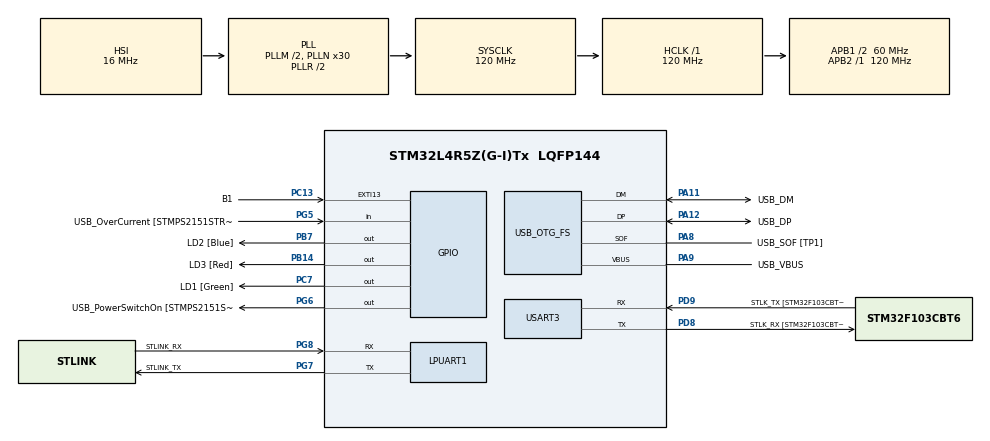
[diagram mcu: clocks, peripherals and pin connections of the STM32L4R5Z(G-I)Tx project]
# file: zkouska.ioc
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FREERTOS.BinarySemaphores01=ButtonSemaphore,Dynamic,NULL,Depleted;LD1Semaphore,Dynamic,NULL,Depleted;LD2Semaphore,Dynamic,NULL,Depleted
FREERTOS.Tasks01=LD1Blik,24,128,LD1BlikStart,Default,NULL,Dynamic,NULL,NULL;LD2Blik,24,128,LD2BlinkStart,Default,NULL,Dynamic,NULL,NULL;ZmenStav,24,128,ZmenStavStart,Default,NULL,Dynamic,NULL,NULL
FREERTOS.Timers01=LD3Timer,LD3TimerStart,osTimerPeriodic,Default,NULL,Dynamic,NULL
FREERTOS.configUSE_NEWLIB_REENTRANT=1
Mcu.Family=STM32L4
Mcu.Name=STM32L4R5Z(G-I)Tx
Mcu.Package=LQFP144
NVIC.EXTI15_10_IRQn=true\:5\:0\:false\:false\:true\:true\:true\:true\:true
NVIC.PriorityGroup=NVIC_PRIORITYGROUP_4
NVIC.TIM3_IRQn=true\:15\:0\:false\:false\:true\:false\:false\:true\:true
NVIC.TIM6_DAC_IRQn=true\:5\:0\:false\:false\:true\:true\:true\:true\:true
NVIC.TIM7_IRQn=true\:5\:0\:false\:false\:true\:true\:true\:true\:true
NVIC.TimeBase=TIM3_IRQn
NVIC.TimeBaseIP=TIM3
PA10.GPIO_Label=USB_ID
PA10.Signal=USB_OTG_FS_ID
PA11.GPIO_Label=USB_DM
PA11.Mode=Device_Only
PA11.Signal=USB_OTG_FS_DM
PA12.GPIO_Label=USB_DP
PA12.Mode=Device_Only
PA12.Signal=USB_OTG_FS_DP
PA13\ (JTMS/SWDIO).GPIO_Label=TMS
PA13\ (JTMS/SWDIO).Mode=Trace_Asynchronous_SW
PA13\ (JTMS/SWDIO).Signal=SYS_JTMS-SWDIO
PA14\ (JTCK/SWCLK).GPIO_Label=TCK
PA14\ (JTCK/SWCLK).Mode=Trace_Asynchronous_SW
PA14\ (JTCK/SWCLK).Signal=SYS_JTCK-SWCLK
PA8.GPIO_Label=USB_SOF [TP1]
PA8.Mode=Activate_SOF_FS
PA8.Signal=USB_OTG_FS_SOF
PA9.GPIO_Label=USB_VBUS
PA9.Mode=Activate_VBUS
PA9.Signal=USB_OTG_FS_VBUS
PB14.GPIO_Label=LD3 [Red]
PB14.Signal=GPIO_Output
PB3\ (JTDO/TRACESWO).GPIO_Label=SWO
PB3\ (JTDO/TRACESWO).Mode=Trace_Asynchronous_SW
PB3\ (JTDO/TRACESWO).Signal=SYS_JTDO-SWO
PB7.GPIO_Label=LD2 [Blue]
PB7.Signal=GPIO_Output
PC13.GPIO_Label=B1
PC13.Signal=GPXTI13
PC14-OSC32_IN\ (PC14).Mode=LSE-External-Oscillator
PC14-OSC32_IN\ (PC14).Signal=RCC_OSC32_IN
PC15-OSC32_OUT\ (PC15).Mode=LSE-External-Oscillator
PC15-OSC32_OUT\ (PC15).Signal=RCC_OSC32_OUT
PC7.GPIO_Label=LD1 [Green]
PC7.Signal=GPIO_Output
PD8.GPIO_Label=STLK_RX [STM32F103CBT6_PA3]
PD8.Mode=Asynchronous
PD8.Signal=USART3_TX
PD9.GPIO_Label=STLK_TX [STM32F103CBT6_PA2]
PD9.Mode=Asynchronous
PD9.Signal=USART3_RX
PG5.GPIO_Label=USB_OverCurrent [STMPS2151STR_FAULT]
PG5.Signal=GPIO_Input
PG6.GPIO_Label=USB_PowerSwitchOn [STMPS2151STR_EN]
PG6.Signal=GPIO_Output
PG7.GPIO_Label=STLINK_TX
PG7.Mode=Asynchronous
PG7.Signal=LPUART1_TX
PG8.GPIO_Label=STLINK_RX
PG8.Mode=Asynchronous
PG8.Signal=LPUART1_RX
PH0-OSC_IN\ (PH0).Signal=RCC_OSC_IN
PH1-OSC_OUT\ (PH1).Signal=RCC_OSC_OUT
ProjectManager.HeapSize=0x200
ProjectManager.StackSize=0x400
ProjectManager.TargetToolchain=STM32CubeIDE
RCC.48MHZClocksFreq_Value=24000000
RCC.ADCFreq_Value=96000000
RCC.AHBFreq_Value=120000000
RCC.APB1CLKDivider=RCC_HCLK_DIV2
RCC.APB1Freq_Value=60000000
RCC.APB1TimFreq_Value=120000000
RCC.APB2Freq_Value=120000000
RCC.APB2TimFreq_Value=120000000
RCC.CK48CLockSelection=RCC_USBCLKSOURCE_HSI48
RCC.CortexFreq_Value=120000000
RCC.HCLKFreq_Value=120000000
RCC.HSE_VALUE=8000000
RCC.HSI48_VALUE=48000000
RCC.HSI_VALUE=16000000
RCC.MSI_VALUE=4000000
RCC.PLLM1=2
RCC.PLLMUL=RCC_PLL_MUL9
RCC.PLLN=30
RCC.PLLSAI1N=12
RCC.PLLSourceVirtual=RCC_PLLSOURCE_HSI
RCC.PRESCALERUSB=RCC_USBCLKSOURCE_PLL_DIV1_5
RCC.SYSCLKFreq_VALUE=120000000
RCC.SYSCLKSource=RCC_SYSCLKSOURCE_PLLCLK
RCC.SYSCLKSourceVirtual=RCC_SYSCLKSOURCE_PLLCLK
RCC.USBFreq_Value=48000000
RCC.VCOOutputFreq_Value=240000000
TIM6.AutoReloadPreload=TIM_AUTORELOAD_PRELOAD_ENABLE
TIM6.Period=10000-1
TIM6.Prescaler=4800-1
TIM6.TIM_MasterOutputTrigger=TIM_TRGO_UPDATE
TIM7.AutoReloadPreload=TIM_AUTORELOAD_PRELOAD_ENABLE
TIM7.Period=10000-1
TIM7.Prescaler=7200-1
TIM7.TIM_MasterOutputTrigger=TIM_TRGO_UPDATE
USART3.VirtualMode-Asynchronous=VM_ASYNC
USB_OTG_FS.VirtualMode=Device_Only
VP_FREERTOS_VS_CMSIS_V2.Mode=CMSIS_V2
VP_SYS_VS_tim3.Mode=TIM3
VP_TIM6_VS_ClockSourceINT.Mode=Enable_Timer
VP_TIM7_VS_ClockSourceINT.Mode=Enable_Timer
board=NUCLEO-L4R5ZI

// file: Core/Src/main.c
/* USER CODE BEGIN Header */
/**
  ******************************************************************************
  * @file           : main.c
  * @brief          : Main program body
  ******************************************************************************
  * @attention
  *
  * Copyright (c) 2025 STMicroelectronics.
  * All rights reserved.
  *
  * This software is licensed under terms that can be found in the LICENSE file
  * in the root directory of this software component.
  * If no LICENSE file comes with this software, it is provided AS-IS.
  *
  ******************************************************************************
  */
/* USER CODE END Header */
#include "main.h"
#include "cmsis_os.h"

UART_HandleTypeDef hlpuart1;
UART_HandleTypeDef huart3;

TIM_HandleTypeDef htim6;
TIM_HandleTypeDef htim7;

PCD_HandleTypeDef hpcd_USB_OTG_FS;

/* Definitions for LD1Blik */
osThreadId_t LD1BlikHandle;
const osThreadAttr_t LD1Blik_attributes = {
  .name = "LD1Blik",
  .stack_size = 128 * 4,
  .priority = (osPriority_t) osPriorityNormal,
};
/* Definitions for LD2Blik */
osThreadId_t LD2BlikHandle;
const osThreadAttr_t LD2Blik_attributes = {
  .name = "LD2Blik",
  .stack_size = 128 * 4,
  .priority = (osPriority_t) osPriorityNormal,
};
/* Definitions for ZmenStav */
osThreadId_t ZmenStavHandle;
const osThreadAttr_t ZmenStav_attributes = {
  .name = "ZmenStav",
  .stack_size = 128 * 4,
  .priority = (osPriority_t) osPriorityNormal,
};
/* Definitions for LD3Timer */
osTimerId_t LD3TimerHandle;
const osTimerAttr_t LD3Timer_attributes = {
  .name = "LD3Timer"
};
/* Definitions for ButtonSemaphore */
osSemaphoreId_t ButtonSemaphoreHandle;
const osSemaphoreAttr_t ButtonSemaphore_attributes = {
  .name = "ButtonSemaphore"
};
/* Definitions for LD1Semaphore */
osSemaphoreId_t LD1SemaphoreHandle;
const osSemaphoreAttr_t LD1Semaphore_attributes = {
  .name = "LD1Semaphore"
};
/* Definitions for LD2Semaphore */
osSemaphoreId_t LD2SemaphoreHandle;
const osSemaphoreAttr_t LD2Semaphore_attributes = {
  .name = "LD2Semaphore"
};
/* USER CODE BEGIN PV */
GPIO_PinState Button;
int Stav=1;
int Button1=0;
/* USER CODE END PV */

void SystemClock_Config(void);
static void MX_GPIO_Init(void);
static void MX_LPUART1_UART_Init(void);
static void MX_USART3_UART_Init(void);
static void MX_USB_OTG_FS_PCD_Init(void);
static void MX_TIM6_Init(void);
static void MX_TIM7_Init(void);
void LD1BlikStart(void *argument);
void LD2BlinkStart(void *argument);
void ZmenStavStart(void *argument);
void LD3TimerStart(void *argument);

int main(void)
{

  /* MCU Configuration--------------------------------------------------------*/

  /* Reset of all peripherals, Initializes the Flash interface and the Systick. */
  HAL_Init();

  /* Configure the system clock */
  SystemClock_Config();

  /* Initialize all configured peripherals */
  MX_GPIO_Init();
  MX_LPUART1_UART_Init();
  MX_USART3_UART_Init();
  MX_USB_OTG_FS_PCD_Init();
  MX_TIM6_Init();
  MX_TIM7_Init();
  /* USER CODE BEGIN 2 */
  HAL_TIM_Base_Start_IT(&htim7);
  HAL_TIM_Base_Start_IT(&htim6);

  /* USER CODE END 2 */

  /* Init scheduler */
  osKernelInitialize();

  /* Create the semaphores(s) */
  /* creation of ButtonSemaphore */
  ButtonSemaphoreHandle = osSemaphoreNew(1, 0, &ButtonSemaphore_attributes);

  /* creation of LD1Semaphore */
  LD1SemaphoreHandle = osSemaphoreNew(1, 0, &LD1Semaphore_attributes);

  /* creation of LD2Semaphore */
  LD2SemaphoreHandle = osSemaphoreNew(1, 0, &LD2Semaphore_attributes);

  /* Create the timer(s) */
  /* creation of LD3Timer */
  LD3TimerHandle = osTimerNew(LD3TimerStart, osTimerPeriodic, NULL, &LD3Timer_attributes);

  /* USER CODE BEGIN RTOS_TIMERS */
  /* start timers, add new ones, ... */
  osTimerStart(LD3TimerHandle, 1000);
  /* USER CODE END RTOS_TIMERS */

  /* Create the thread(s) */
  /* creation of LD1Blik */
  LD1BlikHandle = osThreadNew(LD1BlikStart, NULL, &LD1Blik_attributes);

  /* creation of LD2Blik */
  LD2BlikHandle = osThreadNew(LD2BlinkStart, NULL, &LD2Blik_attributes);

  /* creation of ZmenStav */
  ZmenStavHandle = osThreadNew(ZmenStavStart, NULL, &ZmenStav_attributes);

  /* Start scheduler */
  osKernelStart();

  /* We should never get here as control is now taken by the scheduler */

  /* Infinite loop */
  while (1)
  {

  }
}

void SystemClock_Config(void)
{
  RCC_OscInitTypeDef RCC_OscInitStruct = {0};
  RCC_ClkInitTypeDef RCC_ClkInitStruct = {0};

  /** Configure the main internal regulator output voltage
  */
  if (HAL_PWREx_ControlVoltageScaling(PWR_REGULATOR_VOLTAGE_SCALE1_BOOST) != HAL_OK)
  {
    Error_Handler();
  }

  /** Initializes the RCC Oscillators according to the specified parameters
  * in the RCC_OscInitTypeDef structure.
  */
  RCC_OscInitStruct.OscillatorType = RCC_OSCILLATORTYPE_HSI48|RCC_OSCILLATORTYPE_HSI;
  RCC_OscInitStruct.HSIState = RCC_HSI_ON;
  RCC_OscInitStruct.HSI48State = RCC_HSI48_ON;
  RCC_OscInitStruct.HSICalibrationValue = RCC_HSICALIBRATION_DEFAULT;
  RCC_OscInitStruct.PLL.PLLState = RCC_PLL_ON;
  RCC_OscInitStruct.PLL.PLLSource = RCC_PLLSOURCE_HSI;
  RCC_OscInitStruct.PLL.PLLM = 2;
  RCC_OscInitStruct.PLL.PLLN = 30;
  RCC_OscInitStruct.PLL.PLLP = RCC_PLLP_DIV2;
  RCC_OscInitStruct.PLL.PLLQ = RCC_PLLQ_DIV2;
  RCC_OscInitStruct.PLL.PLLR = RCC_PLLR_DIV2;
  if (HAL_RCC_OscConfig(&RCC_OscInitStruct) != HAL_OK)
  {
    Error_Handler();
  }

  /** Initializes the CPU, AHB and APB buses clocks
  */
  RCC_ClkInitStruct.ClockType = RCC_CLOCKTYPE_HCLK|RCC_CLOCKTYPE_SYSCLK
                              |RCC_CLOCKTYPE_PCLK1|RCC_CLOCKTYPE_PCLK2;
  RCC_ClkInitStruct.SYSCLKSource = RCC_SYSCLKSOURCE_PLLCLK;
  RCC_ClkInitStruct.AHBCLKDivider = RCC_SYSCLK_DIV1;
  RCC_ClkInitStruct.APB1CLKDivider = RCC_HCLK_DIV2;
  RCC_ClkInitStruct.APB2CLKDivider = RCC_HCLK_DIV1;

  if (HAL_RCC_ClockConfig(&RCC_ClkInitStruct, FLASH_LATENCY_5) != HAL_OK)
  {
    Error_Handler();
  }
}

static void MX_LPUART1_UART_Init(void)
{

  hlpuart1.Instance = LPUART1;
  hlpuart1.Init.BaudRate = 209700;
  hlpuart1.Init.WordLength = UART_WORDLENGTH_7B;
  hlpuart1.Init.StopBits = UART_STOPBITS_1;
  hlpuart1.Init.Parity = UART_PARITY_NONE;
  hlpuart1.Init.Mode = UART_MODE_TX_RX;
  hlpuart1.Init.HwFlowCtl = UART_HWCONTROL_NONE;
  hlpuart1.Init.OneBitSampling = UART_ONE_BIT_SAMPLE_DISABLE;
  hlpuart1.Init.ClockPrescaler = UART_PRESCALER_DIV1;
  hlpuart1.AdvancedInit.AdvFeatureInit = UART_ADVFEATURE_NO_INIT;
  hlpuart1.FifoMode = UART_FIFOMODE_DISABLE;
  if (HAL_UART_Init(&hlpuart1) != HAL_OK)
  {
    Error_Handler();
  }
  if (HAL_UARTEx_SetTxFifoThreshold(&hlpuart1, UART_TXFIFO_THRESHOLD_1_8) != HAL_OK)
  {
    Error_Handler();
  }
  if (HAL_UARTEx_SetRxFifoThreshold(&hlpuart1, UART_RXFIFO_THRESHOLD_1_8) != HAL_OK)
  {
    Error_Handler();
  }
  if (HAL_UARTEx_DisableFifoMode(&hlpuart1) != HAL_OK)
  {
    Error_Handler();
  }

}

static void MX_USART3_UART_Init(void)
{

  huart3.Instance = USART3;
  huart3.Init.BaudRate = 115200;
  huart3.Init.WordLength = UART_WORDLENGTH_8B;
  huart3.Init.StopBits = UART_STOPBITS_1;
  huart3.Init.Parity = UART_PARITY_NONE;
  huart3.Init.Mode = UART_MODE_TX_RX;
  huart3.Init.HwFlowCtl = UART_HWCONTROL_NONE;
  huart3.Init.OverSampling = UART_OVERSAMPLING_16;
  huart3.Init.OneBitSampling = UART_ONE_BIT_SAMPLE_DISABLE;
  huart3.Init.ClockPrescaler = UART_PRESCALER_DIV1;
  huart3.AdvancedInit.AdvFeatureInit = UART_ADVFEATURE_NO_INIT;
  if (HAL_UART_Init(&huart3) != HAL_OK)
  {
    Error_Handler();
  }
  if (HAL_UARTEx_SetTxFifoThreshold(&huart3, UART_TXFIFO_THRESHOLD_1_8) != HAL_OK)
  {
    Error_Handler();
  }
  if (HAL_UARTEx_SetRxFifoThreshold(&huart3, UART_RXFIFO_THRESHOLD_1_8) != HAL_OK)
  {
    Error_Handler();
  }
  if (HAL_UARTEx_DisableFifoMode(&huart3) != HAL_OK)
  {
    Error_Handler();
  }

}

static void MX_TIM6_Init(void)
{

  TIM_MasterConfigTypeDef sMasterConfig = {0};

  htim6.Instance = TIM6;
  htim6.Init.Prescaler = 4800-1;
  htim6.Init.CounterMode = TIM_COUNTERMODE_UP;
  htim6.Init.Period = 10000-1;
  htim6.Init.AutoReloadPreload = TIM_AUTORELOAD_PRELOAD_ENABLE;
  if (HAL_TIM_Base_Init(&htim6) != HAL_OK)
  {
    Error_Handler();
  }
  sMasterConfig.MasterOutputTrigger = TIM_TRGO_UPDATE;
  sMasterConfig.MasterSlaveMode = TIM_MASTERSLAVEMODE_DISABLE;
  if (HAL_TIMEx_MasterConfigSynchronization(&htim6, &sMasterConfig) != HAL_OK)
  {
    Error_Handler();
  }

}

static void MX_TIM7_Init(void)
{

  TIM_MasterConfigTypeDef sMasterConfig = {0};

  htim7.Instance = TIM7;
  htim7.Init.Prescaler = 7200-1;
  htim7.Init.CounterMode = TIM_COUNTERMODE_UP;
  htim7.Init.Period = 10000-1;
  htim7.Init.AutoReloadPreload = TIM_AUTORELOAD_PRELOAD_ENABLE;
  if (HAL_TIM_Base_Init(&htim7) != HAL_OK)
  {
    Error_Handler();
  }
  sMasterConfig.MasterOutputTrigger = TIM_TRGO_UPDATE;
  sMasterConfig.MasterSlaveMode = TIM_MASTERSLAVEMODE_DISABLE;
  if (HAL_TIMEx_MasterConfigSynchronization(&htim7, &sMasterConfig) != HAL_OK)
  {
    Error_Handler();
  }

}

static void MX_USB_OTG_FS_PCD_Init(void)
{

  hpcd_USB_OTG_FS.Instance = USB_OTG_FS;
  hpcd_USB_OTG_FS.Init.dev_endpoints = 6;
  hpcd_USB_OTG_FS.Init.speed = PCD_SPEED_FULL;
  hpcd_USB_OTG_FS.Init.phy_itface = PCD_PHY_EMBEDDED;
  hpcd_USB_OTG_FS.Init.Sof_enable = ENABLE;
  hpcd_USB_OTG_FS.Init.low_power_enable = DISABLE;
  hpcd_USB_OTG_FS.Init.lpm_enable = DISABLE;
  hpcd_USB_OTG_FS.Init.battery_charging_enable = ENABLE;
  hpcd_USB_OTG_FS.Init.use_dedicated_ep1 = DISABLE;
  hpcd_USB_OTG_FS.Init.vbus_sensing_enable = ENABLE;
  if (HAL_PCD_Init(&hpcd_USB_OTG_FS) != HAL_OK)
  {
    Error_Handler();
  }

}

static void MX_GPIO_Init(void)
{
  GPIO_InitTypeDef GPIO_InitStruct = {0};

  /* GPIO Ports Clock Enable */
  __HAL_RCC_GPIOC_CLK_ENABLE();
  __HAL_RCC_GPIOH_CLK_ENABLE();
  __HAL_RCC_GPIOB_CLK_ENABLE();
  __HAL_RCC_GPIOD_CLK_ENABLE();
  __HAL_RCC_GPIOG_CLK_ENABLE();
  HAL_PWREx_EnableVddIO2();
  __HAL_RCC_GPIOA_CLK_ENABLE();

  /*Configure GPIO pin Output Level */
  HAL_GPIO_WritePin(GPIOB, LD3_Pin|LD2_Pin, GPIO_PIN_RESET);

  /*Configure GPIO pin Output Level */
  HAL_GPIO_WritePin(USB_PowerSwitchOn_GPIO_Port, USB_PowerSwitchOn_Pin, GPIO_PIN_RESET);

  /*Configure GPIO pin Output Level */
  HAL_GPIO_WritePin(LD1_GPIO_Port, LD1_Pin, GPIO_PIN_RESET);

  /*Configure GPIO pin : B1_Pin */
  GPIO_InitStruct.Pin = B1_Pin;
  GPIO_InitStruct.Mode = GPIO_MODE_IT_RISING;
  GPIO_InitStruct.Pull = GPIO_NOPULL;
  HAL_GPIO_Init(B1_GPIO_Port, &GPIO_InitStruct);

  /*Configure GPIO pins : LD3_Pin LD2_Pin */
  GPIO_InitStruct.Pin = LD3_Pin|LD2_Pin;
  GPIO_InitStruct.Mode = GPIO_MODE_OUTPUT_PP;
  GPIO_InitStruct.Pull = GPIO_NOPULL;
  GPIO_InitStruct.Speed = GPIO_SPEED_FREQ_LOW;
  HAL_GPIO_Init(GPIOB, &GPIO_InitStruct);

  /*Configure GPIO pin : USB_OverCurrent_Pin */
  GPIO_InitStruct.Pin = USB_OverCurrent_Pin;
  GPIO_InitStruct.Mode = GPIO_MODE_INPUT;
  GPIO_InitStruct.Pull = GPIO_NOPULL;
  HAL_GPIO_Init(USB_OverCurrent_GPIO_Port, &GPIO_InitStruct);

  /*Configure GPIO pin : USB_PowerSwitchOn_Pin */
  GPIO_InitStruct.Pin = USB_PowerSwitchOn_Pin;
  GPIO_InitStruct.Mode = GPIO_MODE_OUTPUT_PP;
  GPIO_InitStruct.Pull = GPIO_NOPULL;
  GPIO_InitStruct.Speed = GPIO_SPEED_FREQ_LOW;
  HAL_GPIO_Init(USB_PowerSwitchOn_GPIO_Port, &GPIO_InitStruct);

  /*Configure GPIO pin : LD1_Pin */
  GPIO_InitStruct.Pin = LD1_Pin;
  GPIO_InitStruct.Mode = GPIO_MODE_OUTPUT_PP;
  GPIO_InitStruct.Pull = GPIO_NOPULL;
  GPIO_InitStruct.Speed = GPIO_SPEED_FREQ_LOW;
  HAL_GPIO_Init(LD1_GPIO_Port, &GPIO_InitStruct);

  /* EXTI interrupt init*/
  HAL_NVIC_SetPriority(EXTI15_10_IRQn, 5, 0);
  HAL_NVIC_EnableIRQ(EXTI15_10_IRQn);

}

/* USER CODE BEGIN 4 */
void HAL_GPIO_EXTI_Callback(uint16_t GPIO_Pin){
	if (GPIO_Pin == B1_Pin){
		if(Button1==1){
			Button1=0;
		}else{
			Button1=1;
		}
		osSemaphoreRelease(ButtonSemaphoreHandle);
	}
}
/* USER CODE END 4 */

void LD1BlikStart(void *argument)
{
  /* USER CODE BEGIN 5 */
  /* Infinite loop */
	uint8_t counter=0;
	for(;;)
	{
		osSemaphoreAcquire(LD1SemaphoreHandle, osWaitForever);
		switch (Stav){
		case 1:
			HAL_GPIO_TogglePin(LD1_GPIO_Port, LD1_Pin);
			break;
		case 2:
			counter=counter+1;
			if (counter==2){
				HAL_GPIO_TogglePin(LD1_GPIO_Port, LD1_Pin);
				counter=0;
			}
			break;
		case 3:
			HAL_GPIO_WritePin(LD1_GPIO_Port, LD1_Pin, GPIO_PIN_SET);
			break;
		case 4:
			HAL_GPIO_WritePin(LD1_GPIO_Port, LD1_Pin, GPIO_PIN_RESET);
			break;
		}

	}
  /* USER CODE END 5 */
}

void LD2BlinkStart(void *argument)
{
  /* USER CODE BEGIN LD2BlinkStart */
  /* Infinite loop */
	uint8_t counter=0;
  for(;;)
  {
    osSemaphoreAcquire(LD2SemaphoreHandle, osWaitForever);
    		switch (Stav){
    		case 1:
    			HAL_GPIO_TogglePin(LD2_GPIO_Port, LD2_Pin);
    			break;
    		case 2:
    			counter=counter+1;
    			if (counter==2){
    				HAL_GPIO_TogglePin(LD2_GPIO_Port, LD2_Pin);
    				counter=0;
    			}
    			break;
    		case 3:
    			HAL_GPIO_WritePin(LD2_GPIO_Port, LD2_Pin, GPIO_PIN_SET);
    			break;
    		case 4:
    			HAL_GPIO_WritePin(LD2_GPIO_Port, LD2_Pin, GPIO_PIN_RESET);
    			break;
    		}
  }
  /* USER CODE END LD2BlinkStart */
}

void ZmenStavStart(void *argument)
{
  /* USER CODE BEGIN ZmenStavStart */
  /* Infinite loop */
  for(;;)
  {
	  osSemaphoreAcquire(ButtonSemaphoreHandle, osWaitForever);
	  if (Stav==4 && Button1==1){
		  Stav=1;
	  }else
	  if (Stav==3 && Button1==1){
		  Stav=4;
	  }else
	  if (Stav==2 && Button1==1){
		  Stav=3;
	  }else
	  if (Stav==1 && Button1==1){
		  Stav=2;
	  }
  }
  /* USER CODE END ZmenStavStart */
}

/* LD3TimerStart function */
void LD3TimerStart(void *argument)
{
  /* USER CODE BEGIN LD3TimerStart */
	HAL_GPIO_TogglePin(LD3_GPIO_Port, LD3_Pin);
  /* USER CODE END LD3TimerStart */
}

void HAL_TIM_PeriodElapsedCallback(TIM_HandleTypeDef *htim)
{
  if (htim->Instance == TIM3) {
    HAL_IncTick();
  }
  /* USER CODE BEGIN Callback 1 */
  if (htim->Instance == TIM7) {
	  osSemaphoreRelease(LD2SemaphoreHandle);
  }
  if (htim->Instance == TIM6) {
	  osSemaphoreRelease(LD1SemaphoreHandle);
  }
  /* USER CODE END Callback 1 */
}

void Error_Handler(void)
{
  __disable_irq();
  while (1)
  {
  }
}
